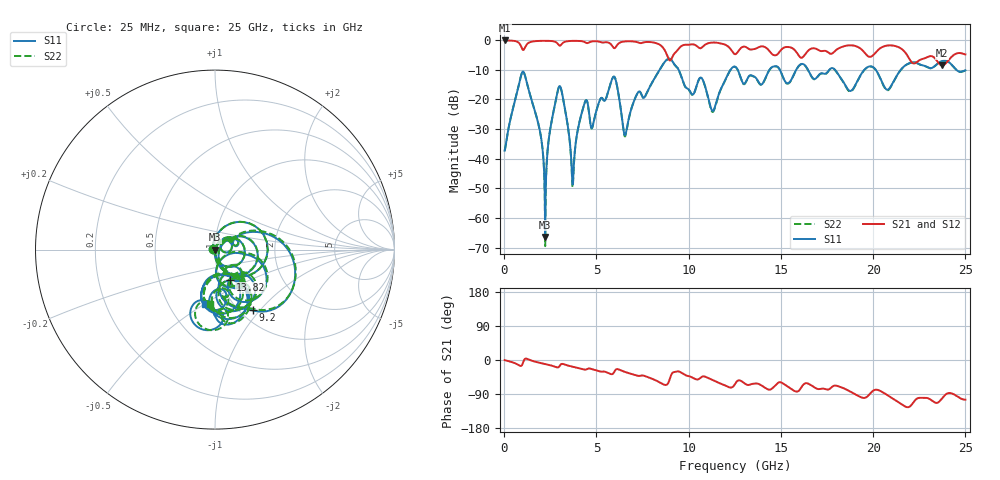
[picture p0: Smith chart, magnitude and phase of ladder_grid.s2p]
! R_s4_rect_cap5: kisi's ladder with the plane pair as a finite cavity (grid) (Finite board 24 × 16 mm, via L1 → L4, a capacitor between the planes 5 mm away, no return via)
# Hz S RI R 50
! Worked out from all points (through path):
!   1000 points, 25 MHz to 25 GHz, reference 50 ohm
!   highest |S21| = -0.12 dB at 25 MHz (marker M1); lowest = -8.5 dB at 23.75 GHz (marker M2)
!   group delay of S21, straight-line fit = 11.9 ps
!   lowest |S11| = -66.4 dB at 2.225 GHz (marker M3), VSWR 1.00, Z = 50 - j0.0175 ohm
!   |S11| at or under -10 dB: start of sweep to 8.429 GHz; 9.456 GHz to 12.27 GHz (2.816 GHz wide, 25.9 % of centre); 12.66 GHz to 14.38 GHz (1.728 GHz wide, 12.8 % of centre)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
!   |S22| runs from -69.5 to -6.3 dB; largest |S21 - S12| = 0
!   S11 on the Smith chart (normalised r, x): 25 MHz: 0.97, +0.00; 9.2 GHz: 1.14, -0.92; 13.82 GHz: 1.11, -0.39; 25 GHz: 0.75, -0.51
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2.5e7  -0.0134 0.0025  0.9864 -0.00453  0.9864 -0.00453  -0.0134 0.0025
1.05e9  0.2873 -0.0432  0.6817 -0.0425  0.6817 -0.0425  0.2874 -0.0421
1.875e9  -1.9e-05 -0.0363  0.9611 -0.1154  0.9611 -0.1154  0.000125 -0.0363
2.225e9  0.000444 -0.000175  0.956 -0.1795  0.956 -0.1795  0.000308 -0.000131
2.95e9  0.1533 0.0316  0.7899 -0.2696  0.7899 -0.2696  0.1528 0.0333
3.7e9  0.00308 -0.00205  0.9245 -0.2934  0.9245 -0.2934  0.00275 -0.00188
4.2e9  0.0345 0.0467  0.8802 -0.3811  0.8802 -0.3811  0.0334 0.0474
4.8e9  0.0306 0.0183  0.8665 -0.3974  0.8665 -0.3974  0.0297 0.0191
5.95e9  0.2346 -0.0622  0.6164 -0.3999  0.6164 -0.3999  0.2353 -0.0569
6.575e9  0.0253 -0.00161  0.8077 -0.5036  0.8077 -0.5036  0.0244 -0.00042
8.35e9  0.2728 0.0917  0.4703 -0.7226  0.4703 -0.7226  0.2692 0.1008
9.2e9  0.21 -0.3385  0.4899 -0.306  0.4899 -0.306  0.2196 -0.331
1.0725e10  0.0781 -0.2107  0.5418 -0.5236  0.5418 -0.5236  0.0843 -0.2063
1.13e10  0.0419 -0.0481  0.5468 -0.7266  0.5468 -0.7266  0.0422 -0.0445
1.2525e10  0.221 -0.2778  0.2675 -0.5135  0.2675 -0.5135  0.2316 -0.2665
1.3825e10  0.0845 -0.1688  0.3391 -0.6881  0.3391 -0.6881  0.0909 -0.1623
1.6675e10  -0.0155 -0.2399  0.2725 -0.6701  0.2725 -0.6701  -0.00379 -0.2376
1.8775e10  0.0202 -0.1373  0.0898 -0.813  0.0898 -0.813  0.0278 -0.1323
1.9875e10  0.032 -0.3589  0.0314 -0.5239  0.0314 -0.5239  0.0541 -0.3537
2.085e10  0.046 -0.142  -0.0723 -0.811  -0.0723 -0.811  0.0553 -0.1353
2.375e10  -0.0161 -0.446  -0.0671 -0.3688  -0.0671 -0.3688  0.0168 -0.444
2.5e10  -0.0536 -0.3043  -0.1444 -0.5547  -0.1444 -0.5547  -0.03 -0.3054
